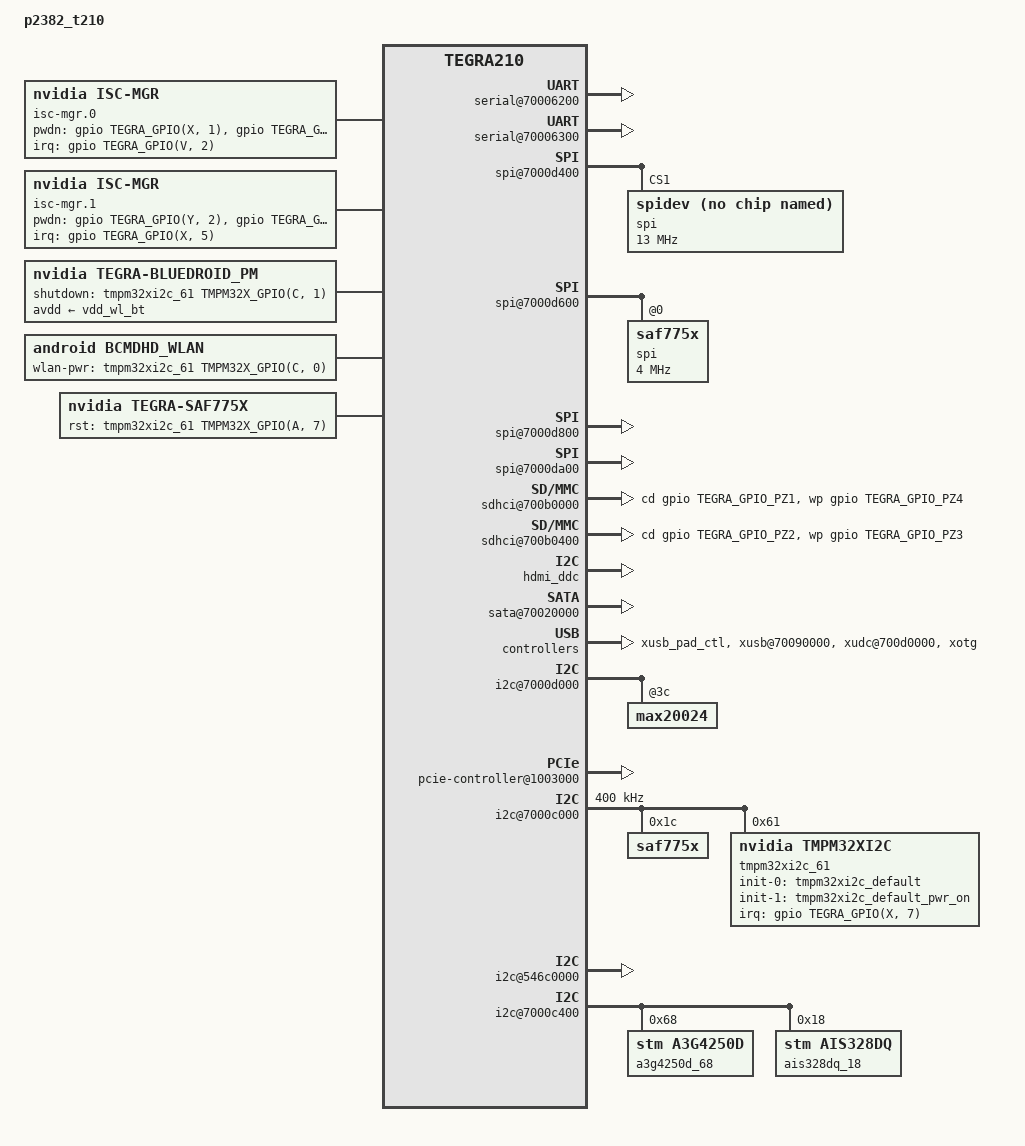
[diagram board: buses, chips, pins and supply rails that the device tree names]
/*
 * T210- VCM3.1
 *
 * arch/arm64/boot/dts/tegra210-vcm31-p2382-common.dtsi
 *
 * Copyright (c) 2015, NVIDIA CORPORATION.  All rights reserved.
 *
 * This program is free software; you can redistribute it and/or modify
 * it under the terms of the GNU General Public License as published by
 * the Free Software Foundation; version 2 of the License.
 *
 * This program is distributed in the hope that it will be useful, but WITHOUT
 * ANY WARRANTY; without even the implied warranty of MERCHANTABILITY or
 * FITNESS FOR A PARTICULAR PURPOSE.  See the GNU General Public License for
 * more details.
 *
 * You should have received a copy of the GNU General Public License along
 * with this program; if not, write to the Free Software Foundation, Inc.,
 * 51 Franklin Street, Fifth Floor, Boston, MA  02110-1301, USA.
 *
 */

#include "tegra210-platforms/tegra210-vcm31.dtsi"
#include <dt-bindings/gpio/tmpm32x-gpio.h>

#define CAM_I2C_BUS 6

/ {
	model = "p2382_t210";
	compatible = "nvidia,p2382_t210", "nvidia,tegra210";
	nvidia,dtsfilename = __FILE__;
	nvidia,boardids = "2382:0000:000";

	/* Place holder for Boardinfo,this will be updated by QB
	* by reading the values from BCT partition
	*/
	nvidia,boardinfo {
		macids {
			mac0-interface = "0000";
			mac0-address = <00 00 00 00 00 00>;
			mac0-address-string = "00 00 00 00 00 00";
		};
		skuinfo {
			skustring = "000-00000-0000-000";
			skuver = "00";
		};
		prodinfo {
			prodstring = "000-00000-0000-000";
			prodver = "0";
		};
		serialnuminfo {
			serialnumstring = "0000000";
			version = "0";
		};
	};

	firmware {
		android {
			compatible = "android,firmware";
			hardware = "p2382_t210";
		};
	};

	cpuidle {
		cc4-no-retention;
	};

	serial@70006200 { /* satellite Radio */
		status = "okay";
	};

	serial@70006300 { /* BT */
		status = "okay";
	};

	spi@7000d400 { /* Display AIC */
		status = "okay";
		spi@1 {
			compatible = "spidev";
			reg = <1>;
			spi-max-frequency = <13000000>;
		};
	};
	spi@7000d600 { /* Dirana */
		status = "okay";
		spi@0 {
			compatible = "saf775x";
			spi-max-frequency = <4000000>;
			spi-cpha;
			controller-data {
				nvidia,clk-delay-between-packets = <10>;
				nvidia,chipselect-gpio = <&gpio TEGRA_GPIO(S,4) 0>;
			};
		};
	};

	spi@7000d800 { /* MCU */
		status = "okay";
	};

	spi@7000da00 { /* HD, DAB AIC */
		status = "okay";
	};

	sdhci@700b0000 { /* sd card slot 1st*/
		cd-gpios = <&gpio TEGRA_GPIO_PZ1 0>;
		wp-gpios = <&gpio TEGRA_GPIO_PZ4 0>;
		nvidia,sd-device;
		uhs-mask = <0x68>; /* mask HS400, HS200, DDR50 */
		mmc-ocr-mask = <3>; /* mask ocr 3v3 */
		trim-delay = <0x2>;
		tap-delay = <0x2>;
		nvidia,auto-cal-slew-override;
		auto-cal-step = <0x7>;
		calib-1v8-offsets = <0x7B79>;
		calib-3v3-offsets = <0x7B79>;
		compad-vref-3v3 = <0x1>;
		compad-vref-1v8 = <0x2>;
		power-off-rail;
		/* clock freq based on mode */
		fixed-clock-freq = <25500000 24000000 0 47000000 24000000 47000000 94000000 204000000 0 0 0>;
		nvidia,update-pinctrl-settings;
		pinctrl-names = "sdmmc_schmitt_enable", "sdmmc_schmitt_disable", "sdmmc_clk_schmitt_enable", "sdmmc_clk_schmitt_disable";
		pinctrl-0 = <&sdmmc1_schmitt_enable_state>;
		pinctrl-1 = <&sdmmc1_schmitt_disable_state>;
		pinctrl-2 = <&sdmmc1_clk_schmitt_enable_state>;
		pinctrl-3 = <&sdmmc1_clk_schmitt_disable_state>;
		status = "okay";
	};

	sdhci@700b0400 { /* sd card slot 2nd */
		/delete-property/ non-removable;
		cd-gpios = <&gpio TEGRA_GPIO_PZ2 0>;
		wp-gpios = <&gpio TEGRA_GPIO_PZ3 0>;
		nvidia,sd-device;
		uhs-mask = <0x68>; /* mask HS400, HS200, DDR50 */
		mmc-ocr-mask = <3>; /* mask ocr 3v3 */
		trim-delay = <0x3>;
		tap-delay = <0x1>;
		nvidia,auto-cal-slew-override;
		auto-cal-step = <0x7>;
		calib-1v8-offsets = <0x7977>;
		calib-3v3-offsets = <0x7977>;
		compad-vref-3v3 = <0x1>;
		compad-vref-1v8 = <0x2>;
		power-off-rail;
		default-drv-type = <1>;
		/* clock freq based on mode */
		fixed-clock-freq = <25500000 24000000 0 47000000 24000000 47000000 94000000 204000000 0 0 0>;
		nvidia,update-pinctrl-settings;
		pinctrl-names = "sdmmc_schmitt_enable", "sdmmc_schmitt_disable", "sdmmc_clk_schmitt_enable", "sdmmc_clk_schmitt_disable";
		pinctrl-0 = <&sdmmc3_schmitt_enable_state>;
		pinctrl-1 = <&sdmmc3_schmitt_disable_state>;
		pinctrl-2 = <&sdmmc3_clk_schmitt_enable_state>;
		pinctrl-3 = <&sdmmc3_clk_schmitt_disable_state>;
		status = "okay";
	};

	gpu-dvfs-rework {
		status = "okay";
	};

	cpu_edp {
		status = "disabled";
	};

	gpu_edp {
		status = "disabled";
	};

	sysedp-dynamic-capping {
		status = "disabled";
	};

	hdmi_ddc: i2c@7000c700 { /* DDC */
		status = "okay";
	};

	sata@70020000 {
		status = "okay";
	};

	xusb_pad_ctl: xusb_padctl {

		/*
		 *ss_portmap (SSP3+USB2P2, SSP2+USB2P0)
		 *SSP3 is mapped to USB_C (0x2...)
		 *SSP2 is mapped to USB_A (0x.0..)
		 *SSP1 and 0 are disabled (0x..77)
		 */
		nvidia,ss_portmap = <0x2077>;

		/*
		 *lane_owner
		 *SSP3 is to be routed via. VCM PEX lane 4 (0x4...)
		 *SSP2 is to be routed via. VCM PEX lane 3 (0x.3..)
		 *SSP1 and 0 not routed through any lanes  (0x..FF)
		 */
		nvidia,lane_owner = <0x43FF>;

		/*
		 *otg_portmap - bit-field indicating which OTG ports are
		 *		controlled by XUDC/XHCI (SSP2 and USB2P0)
		 *bit[0-3]  : SS ports 0 to 3
		 *bit[8-11] : HS ports 0 to 3
		 */
		nvidia,otg_portmap = <0x0104>;

		nvidia,lane-map = <0x00000002>;
		nvidia,enable-sata-port;
		status = "okay";
	};

	xusb@70090000 {

		/*
		 *portmap - bit-field indicating which non-OTG ports are
		 *		controlled by XHCI (SSP3 and USB2P2)
		 *bit[0-3]  : SS ports 0 to 3
		 *bit[8-11] : HS ports 0 to 3
		 */
		nvidia,portmap = <0x0E08>;
		status = "okay";
	};

	xudc@700d0000 {

		/*
		 *portmap - bit-field indicating which non-OTG ports are
		 *		controlled by XUDC (None)
		 *bit[0-3]  : SS ports 0 to 3
		 *bit[8-11] : HS ports 0 to 3
		 */
		nvidia,portmap = <0x0000>;
		status = "okay";
	};

	xotg {
		nvidia,common_padctl = <&xusb_pad_ctl>;
		#extcon-cells = <1>;
		status = "okay";
		extcon-cables = <&vbus_gpio_extcon 1>;
		extcon-cable-names = "id";
	};

	i2c@7000d000 {
		max20024: max20024@3c {
			pinctrl-names = "default";
			pinctrl-0 = <&max20024_default>;
			max20024_default: pinmux@0 {
				pin_gpio0 { /* USB ID */
				pins = "gpio0";
				function = "gpio";
				};
			};
		};
	};

	pcie-controller@1003000 {
		status = "okay";
		nvidia,lane-map = <0x02>;
		pci@1,0 {
			status = "okay";
			nvidia,num-lanes = <0x1>;
		};
	};

	i2c@7000c000 { /* GEN1 */
		clock-frequency = <400000>;
		saf775x@1c {
			 compatible = "saf775x";
			 reg = <0x1c>;
			 status = "okay";
		};

		tmpm32xi2c_61: tmpm32xi2c@61 {
			compatible = "nvidia,tmpm32xi2c";
			gpio-controller;
			#gpio-cells = <2>;
			reg = <0x61>;
			interrupt-parent = <&gpio>;
			interrupts = <TEGRA_GPIO(X, 7) 0x0>;
			tmpm32xi2c,irq_flags = <IRQ_TYPE_LEVEL_LOW>;
			gpio-init-names = "default", "pwr_on_default";
			gpio-init-0 = <&tmpm32xi2c_default>;
			gpio-init-1 = <&tmpm32xi2c_default_pwr_on>;
			tmpm32xi2c_default: default {
				gpio-output-low = <
					TMPM32X_GPIO(C, 1)
					TMPM32X_GPIO(E, 5)
					>;
				gpio-output-high = <
					TMPM32X_GPIO(C, 0)
					>;
			};
			tmpm32xi2c_default_pwr_on: pwr_on_default {
			};
		};
	};

	vii2c {
		avdd_dsi_csi-supply = <&vdd_dummy>;
	};

	i2c@546c0000 {
		avdd_dsi_csi-supply = <&vdd_dummy>;
		status = "okay";
	};

	isc-mgr.0 {
		compatible = "nvidia,isc-mgr";
		i2c-bus = <2>;
		csi-port = <0>;
		pwdn-gpios = < &gpio TEGRA_GPIO(X, 1) GPIO_ACTIVE_HIGH	/* GMSL_IN1_PDN */
			&gpio TEGRA_GPIO(K, 4) GPIO_ACTIVE_HIGH		/* CSI1_TV_EN1 */
			&gpio TEGRA_GPIO(K, 6) GPIO_ACTIVE_HIGH		/* CSI1_TV_EN2 */
			&gpio TEGRA_GPIO(K, 7) GPIO_ACTIVE_HIGH		/* CSI1_TV_EN3 */
			&gpio TEGRA_GPIO(K, 5) GPIO_ACTIVE_HIGH>;	/* CSI1_TV_EN4 */
		/* default-power-on; */
		interrupt-parent = <&gpio>;
		interrupts = <TEGRA_GPIO(V, 2) 2>; /* gpio PV2 : falling edge sensitive */
		status = "okay";

		aggregator@6a {
			addr = <0x6a>;  /* 7 bit slave address */
			reg_len = <8>;  /* 8 bit register length */
			dat_len = <8>;  /* 8 bit data length */
		};

		serializer0@40 {
			addr = <0x40>;  /* 7 bit slave address */
			reg_len = <8>;  /* 8 bit register length */
			dat_len = <8>;  /* 8 bit data length */
		};

		sensor0@30 {
			addr = <0x30>;  /* 7 bit slave address */
			reg_len = <16>;  /* 8 bit register length */
			dat_len = <8>;  /* 8 bit data length */
		};
	};

	isc-mgr.1 {
		compatible = "nvidia,isc-mgr";
		i2c-bus = <CAM_I2C_BUS>;
		csi-port = <2>;
		pwdn-gpios = < &gpio TEGRA_GPIO(Y, 2) GPIO_ACTIVE_HIGH	/* GMSL_IN2_PDN */
			&gpio TEGRA_GPIO(H, 1) GPIO_ACTIVE_HIGH		/* CSI2_TV_EN1 */
			&gpio TEGRA_GPIO(H, 5) GPIO_ACTIVE_HIGH		/* CSI2_TV_EN2 */
			&gpio TEGRA_GPIO(S, 7) GPIO_ACTIVE_HIGH		/* CSI2_TV_EN3 */
			&gpio TEGRA_GPIO(T, 0) GPIO_ACTIVE_HIGH>;	/* CSI2_TV_EN4 */
		/* default-power-on; */
		interrupt-parent = <&gpio>;
		interrupts = <TEGRA_GPIO(X, 5) 2>; /* gpio PX5 : falling edge sensitive */
		status = "okay";

		aggregator@6a {
			addr = <0x6a>;  /* 7 bit slave address */
			reg_len = <8>;  /* 8 bit register length */
			dat_len = <8>;  /* 8 bit data length */
		};

		serializer0@40 {
			addr = <0x40>;  /* 7 bit slave address */
			reg_len = <8>;  /* 8 bit register length */
			dat_len = <8>;  /* 8 bit data length */
		};

		sensor0@30 {
			addr = <0x30>;  /* 7 bit slave address */
			reg_len = <16>;  /* 8 bit register length */
			dat_len = <8>;  /* 8 bit data length */
		};
	};

	sound_ref {
		compatible = "nvidia,tegra-audio-t210ref-p2382";
		nvidia,model = "tegra-snd-p2382";
		nvidia,num-codec-link = <2>;
		nvidia,num-amx = <2>;
		nvidia,num-adx = <2>;
		nvidia,amx-slot-size = <32 32>;
		nvidia,adx-slot-size = <32 32>;
		nvidia,amx1-slot-map = <
			/* slot 0 - Hi */
			TDM_SLOT_MAP(0, 2, 0)
			TDM_SLOT_MAP(0, 2, 1)
			/* slot 1 - Hi */
			TDM_SLOT_MAP(0, 1, 0)
			TDM_SLOT_MAP(0, 1, 1)
			/* slot 2 - Hi */
			TDM_SLOT_MAP(1, 2, 0)
			TDM_SLOT_MAP(1, 2, 1)
			/* slot 3 - Hi */
			TDM_SLOT_MAP(1, 1, 0)
			TDM_SLOT_MAP(1, 1, 1)
			/* slot 4 - Hi */
			TDM_SLOT_MAP(1, 4, 0)
			TDM_SLOT_MAP(1, 4, 1)
			/* slot 5 - Hi */
			TDM_SLOT_MAP(1, 3, 0)
			TDM_SLOT_MAP(1, 3, 1)
			/* slot 6 - Hi */
			TDM_SLOT_MAP(3, 1, 0)
			TDM_SLOT_MAP(3, 1, 1)
			/* slot 7 - Hi */
			TDM_SLOT_MAP(2, 1, 0)
			TDM_SLOT_MAP(2, 1, 1)
			/* slot 0 to 7 - Low */
			TDM_SLOT_MAP(0, 0, 0)
			TDM_SLOT_MAP(0, 0, 0)
			TDM_SLOT_MAP(0, 0, 0)
			TDM_SLOT_MAP(0, 0, 0)
			TDM_SLOT_MAP(0, 0, 0)
			TDM_SLOT_MAP(0, 0, 0)
			TDM_SLOT_MAP(0, 0, 0)
			TDM_SLOT_MAP(0, 0, 0)
			TDM_SLOT_MAP(0, 0, 0)
			TDM_SLOT_MAP(0, 0, 0)
			TDM_SLOT_MAP(0, 0, 0)
			TDM_SLOT_MAP(0, 0, 0)
			TDM_SLOT_MAP(0, 0, 0)
			TDM_SLOT_MAP(0, 0, 0)
			TDM_SLOT_MAP(0, 0, 0)
			TDM_SLOT_MAP(0, 0, 0)>;

		nvidia,amx2-slot-map = <
			/* slot 0 - Hi */
			TDM_SLOT_MAP(0, 1, 0)
			TDM_SLOT_MAP(0, 1, 1)
			/* slot 1 - Hi */
			TDM_SLOT_MAP(0, 2, 0)
			TDM_SLOT_MAP(0, 2, 1)
			/* slot 2 - Hi */
			TDM_SLOT_MAP(1, 1, 0)
			TDM_SLOT_MAP(1, 1, 1)
			/* slot 3 - Hi */
			TDM_SLOT_MAP(1, 2, 0)
			TDM_SLOT_MAP(1, 2, 1)
			/* slot 4 - Hi */
			TDM_SLOT_MAP(2, 1, 0)
			TDM_SLOT_MAP(2, 1, 1)
			/* slot 5 - Hi */
			TDM_SLOT_MAP(2, 2, 0)
			TDM_SLOT_MAP(2, 2, 1)
			/* slot 6 - Hi */
			TDM_SLOT_MAP(3, 1, 0)
			TDM_SLOT_MAP(3, 1, 1)
			/* slot 7 - Hi */
			TDM_SLOT_MAP(3, 2, 0)
			TDM_SLOT_MAP(3, 2, 1)
			/* slot 0 to 7 - Low */
			TDM_SLOT_MAP(0, 0, 0)
			TDM_SLOT_MAP(0, 0, 0)
			TDM_SLOT_MAP(0, 0, 0)
			TDM_SLOT_MAP(0, 0, 0)
			TDM_SLOT_MAP(0, 0, 0)
			TDM_SLOT_MAP(0, 0, 0)
			TDM_SLOT_MAP(0, 0, 0)
			TDM_SLOT_MAP(0, 0, 0)
			TDM_SLOT_MAP(0, 0, 0)
			TDM_SLOT_MAP(0, 0, 0)
			TDM_SLOT_MAP(0, 0, 0)
			TDM_SLOT_MAP(0, 0, 0)
			TDM_SLOT_MAP(0, 0, 0)
			TDM_SLOT_MAP(0, 0, 0)
			TDM_SLOT_MAP(0, 0, 0)
			TDM_SLOT_MAP(0, 0, 0)>;

		nvidia,adx-slot-map = <
			/* slot 0 - Hi */
			TDM_SLOT_MAP(0, 1, 0)
			TDM_SLOT_MAP(0, 1, 1)
			/* slot 1 - Hi */
			TDM_SLOT_MAP(0, 2, 0)
			TDM_SLOT_MAP(0, 2, 1)
			/* slot 2 - Hi */
			TDM_SLOT_MAP(1, 1, 0)
			TDM_SLOT_MAP(1, 1, 1)
			/* slot 3 - Hi */
			TDM_SLOT_MAP(1, 2, 0)
			TDM_SLOT_MAP(1, 2, 1)
			/* slot 4 - Hi */
			TDM_SLOT_MAP(2, 1, 0)
			TDM_SLOT_MAP(2, 1, 1)
			/* slot 5 - Hi */
			TDM_SLOT_MAP(2, 2, 0)
			TDM_SLOT_MAP(2, 2, 1)
			/* slot 6 - Hi */
			TDM_SLOT_MAP(3, 1, 0)
			TDM_SLOT_MAP(3, 1, 1)
			/* slot 7 - Hi */
			TDM_SLOT_MAP(3, 2, 0)
			TDM_SLOT_MAP(3, 2, 1)
			/* slot 0 to 7 - Low */
			/* slot 0 to 7 - Low */
			TDM_SLOT_MAP(0, 0, 0)
			TDM_SLOT_MAP(0, 0, 0)
			TDM_SLOT_MAP(0, 0, 0)
			TDM_SLOT_MAP(0, 0, 0)
			TDM_SLOT_MAP(0, 0, 0)
			TDM_SLOT_MAP(0, 0, 0)
			TDM_SLOT_MAP(0, 0, 0)
			TDM_SLOT_MAP(0, 0, 0)
			TDM_SLOT_MAP(0, 0, 0)
			TDM_SLOT_MAP(0, 0, 0)
			TDM_SLOT_MAP(0, 0, 0)
			TDM_SLOT_MAP(0, 0, 0)
			TDM_SLOT_MAP(0, 0, 0)
			TDM_SLOT_MAP(0, 0, 0)
			TDM_SLOT_MAP(0, 0, 0)
			TDM_SLOT_MAP(0, 0, 0)>;

		nvidia,audio-routing =
			"Headphone-x", "x OUT",
			"x IN", "LineIn-x",
			"Headphone-y", "y OUT",
			"y IN", "LineIn-y";

		nvidia,xbar = <&tegra_axbar>;

		nvidia,dai-link-1 {
			link-name = "p2382-audio-dsp-tdm1-1";
			cpu-dai = <&tegra_i2s3>;
			codec-dai = <&spdif_dit0>;
			cpu-dai-name = "I2S3";
			codec-dai-name = "dit-hifi";
			tx-mask = <0xFF>;
			rx-mask = <0xFF>;
			format = "dsp_a";
			bitclock-master;
			frame-master;
			bitclock-noninversion;
			frame-noninversion;
			bit-format = "s32_le";
			bclk_ratio = <1>;
			srate = <48000>;
			num-channel = <8>;
			name-prefix = "x";
		};

		nvidia,dai-link-2 {
			link-name = "p2382-audio-dsp-tdm1-2";
			cpu-dai = <&tegra_i2s4>;
			codec-dai = <&spdif_dit1>;
			cpu-dai-name = "I2S4";
			codec-dai-name = "dit-hifi";
			tx-mask = <0xFF>;
			rx-mask = <0xFF>;
			format = "dsp_a";
			bitclock-master;
			frame-master;
			bitclock-noninversion;
			frame-noninversion;
			bit-format = "s32_le";
			bclk_ratio = <1>;
			srate = <48000>;
			num-channel = <8>;
			name-prefix = "y";
		};
	};

	adsp_audio {
		num-plugin = <3>;
		plugin-info-3 {
			plugin-name = "aec";
			firmware-name = "libnvaecfx.elf";
			widget-name = "AEC";
			param-type = <2>; /* SNDRV_CTL_ELEM_TYPE_INTEGER */
		};
	};

	bluedroid_pm { /* BCM89359 */
		compatible = "nvidia,tegra-bluedroid_pm";
		id = <0>;
		bluedroid_pm,shutdown-gpio = <
				&tmpm32xi2c_61 TMPM32X_GPIO(C, 1) 0
				>;
		avdd-supply = <&vdd_wl_bt>;
	};

	bcmdhd_wlan {
		compatible = "android,bcmdhd_wlan";
		wlan-pwr-gpio = <
			&tmpm32xi2c_61 TMPM32X_GPIO(C, 0) GPIO_ACTIVE_HIGH
			>;
		status = "okay";
	};

	regulators {
		vdd_wl_bt: regulator@6 {
			status = "okay";
			gpio = <&tmpm32xi2c_61 TMPM32X_GPIO(E, 5) 0>;
		};

	};

	saf775x { /* dirana3 */
		compatible = "nvidia,tegra-saf775x";
		id = <0>;
		rst-gpio = <&tmpm32xi2c_61 TMPM32X_GPIO(A, 7) 0>;
	};

	i2c@7000c400 {
		nvidia,clock-always-on;
		a3g4250d_68: a3g4250d@68 {
			compatible = "stm,a3g4250d";
			reg = <0x68>;
			gyroscope_matrix = [ff 00 00 00 ff 00 00 00 01];
		};
		ais328dq_18: ais328dq@18 {
			compatible = "stm,ais328dq";
			reg = <0x18>;
			accelerometer_matrix = [ff 00 00 00 ff 00 00 00 01];
		};
	};

	watchdog@60005100 {
		status = "okay";
	};
};
